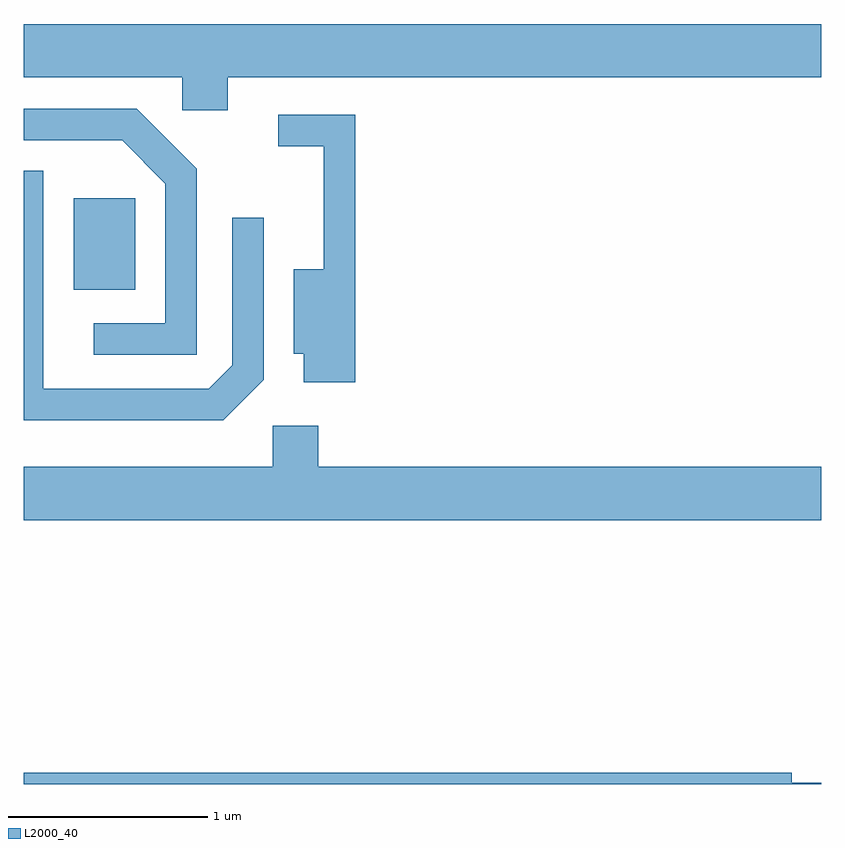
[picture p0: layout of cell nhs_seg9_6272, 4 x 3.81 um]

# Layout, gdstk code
import gdstk
lib = gdstk.Library(unit=1e-6, precision=1e-09)
def R(c, l, rs):  # rectangles x0, y0, x1, y1
    for r in rs: c.add(gdstk.rectangle(r[:2], r[2:], *l))
def P(c, l, *ps):  # polygons
    for p in ps: c.add(gdstk.Polygon(p, *l))
L2000_40 = (2000, 40)

nhs_seg9_6272 = lib.new_cell('nhs_seg9_6272')
R(nhs_seg9_6272, L2000_40, [(369.861,2052.911,370.169,2053.369)])
P(nhs_seg9_6272, L2000_40, [(370.634,2053.976),(373.611,2053.976),(373.611,2054.244),(369.611,2054.244),(369.611,2053.976),(370.406,2053.976),(370.406,2053.811),(370.634,2053.811)],
  [(370.479,2053.517),(370.177,2053.819),(369.611,2053.819),(369.611,2053.661),(370.104,2053.661),(370.321,2053.443),(370.321,2052.744),(369.963,2052.744),(369.963,2052.586),(370.479,2052.586)],
  [(371.274,2053.789),(370.888,2053.789),(370.888,2053.631),(371.116,2053.631),(371.116,2053.014),(370.966,2053.014),(370.966,2052.591),(371.016,2052.591),(371.016,2052.446),(371.274,2052.446)],
  [(370.814,2052.459),(370.814,2053.273),(370.656,2053.273),(370.656,2052.532),(370.539,2052.414),(369.709,2052.414),(369.709,2053.509),(369.611,2053.509),(369.611,2052.256),(370.612,2052.256)],
  [(373.611,2052.024),(371.089,2052.024),(371.089,2052.229),(370.861,2052.229),(370.861,2052.024),(369.611,2052.024),(369.611,2051.756),(373.611,2051.756)],
  [(373.611,2050.439),(373.464,2050.439),(373.464,2050.489),(369.611,2050.489),(369.611,2050.432),(373.611,2050.432)])

lib.write_gds('nhs_seg9_6272.gds')
